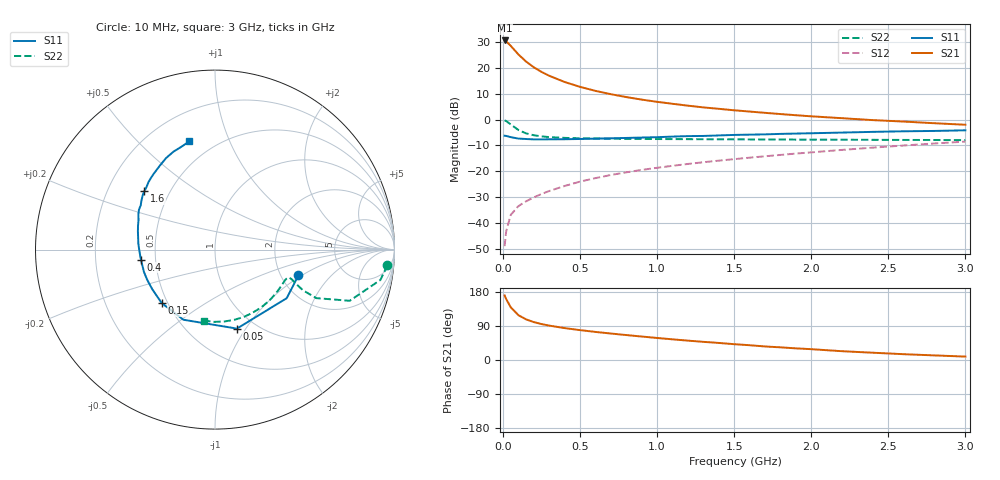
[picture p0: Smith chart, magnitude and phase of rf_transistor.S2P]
# GHz  S  MA  R  50
!  f  S11  S21  S12  S22
! GHz  MAG  ANG  MAG  ANG  MAG  ANG  MAG  ANG
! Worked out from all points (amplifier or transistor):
!   30 points, 10 MHz to 3 GHz, reference 50 ohm
!   highest |S21| = 30.5 dB at 10 MHz (marker M1)
!   |S21| within 3 dB of that: start of sweep to 63.57 MHz
!   unconditionally stable (mu >= 1): 229.5 MHz to 2.112 GHz
!   at 200 MHz: K = 0.95, MSG = 25.1 dB, |S12| = -30.0 dB
!   at 1.1 GHz: K = 1.18, MAG = 9.4 dB, |S12| = -17.9 dB
!   at 3 GHz: K = 0.89, MSG = 3.3 dB, |S12| = -8.5 dB
!   S11 on the Smith chart (normalised r, x): 10 MHz: 2.48, -0.94; 50 MHz: 0.82, -0.91; 150 MHz: 0.46, -0.34; 400 MHz: 0.41, -0.06; 1.6 GHz: 0.36, +0.32; 3 GHz: 0.37, +0.72
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0.01  0.4865 -17.2  33.54 170.4  0.0036 84.8  0.9643 -5.2
0.02  0.4826 -34.1  32.19 161.0  0.0069 77.8  0.9368 -10.4
0.05  0.4568 -74.5  26.35 139.0  0.0145 65.6  0.8029 -20.8
0.1  0.4285 -114.2  17.95 118.1  0.0214 59.3  0.626 -25.6
0.15  0.4207 -134.9  13.08 107.1  0.0265 59.9  0.5396 -24.8
0.2  0.4134 -147.8  10.15 99.9  0.0315 61.8  0.4969 -23.2
0.25  0.4137 -156.4  8.262 94.8  0.0367 64.1  0.4728 -22.0
0.3  0.4149 -162.6  6.973 90.7  0.0418 65.6  0.458 -21.1
0.4  0.4165 -172.3  5.294 84.2  0.0523 68.0  0.4424 -20.7
0.5  0.4212 -178.8  4.263 78.8  0.0634 69.3  0.4341 -21.2
0.6  0.4282 175.7  3.567 74.1  0.0741 70.1  0.4291 -22.3
0.7  0.4338 170.9  3.08 69.8  0.0852 70.4  0.4257 -23.8
0.8  0.4412 166.8  2.71 65.8  0.0957 70.4  0.4236 -25.6
0.9  0.449 162.8  2.421 61.9  0.1066 70.2  0.4216 -27.7
1  0.4561 159.1  2.194 58.1  0.1173 70.0  0.42 -30.0
1.1  0.4685 155.7  2.01 54.5  0.1279 70.0  0.4189 -32.5
1.3  0.4821 149.1  1.714 47.9  0.1499 69.2  0.4163 -37.8
1.6  0.5109 140.3  1.424 39.0  0.1837 67.8  0.4132 -46.5
1.9  0.5359 131.7  1.21 30.7  0.2202 66.0  0.4097 -56.2
2.2  0.56 123.2  1.061 23.2  0.2594 63.8  0.408 -66.7
2.6  0.5927 113.0  0.913 15.3  0.3152 59.6  0.4039 -82.2
3  0.6193 103.4  0.793 9.0  0.3748 54.4  0.4004 -99.0
